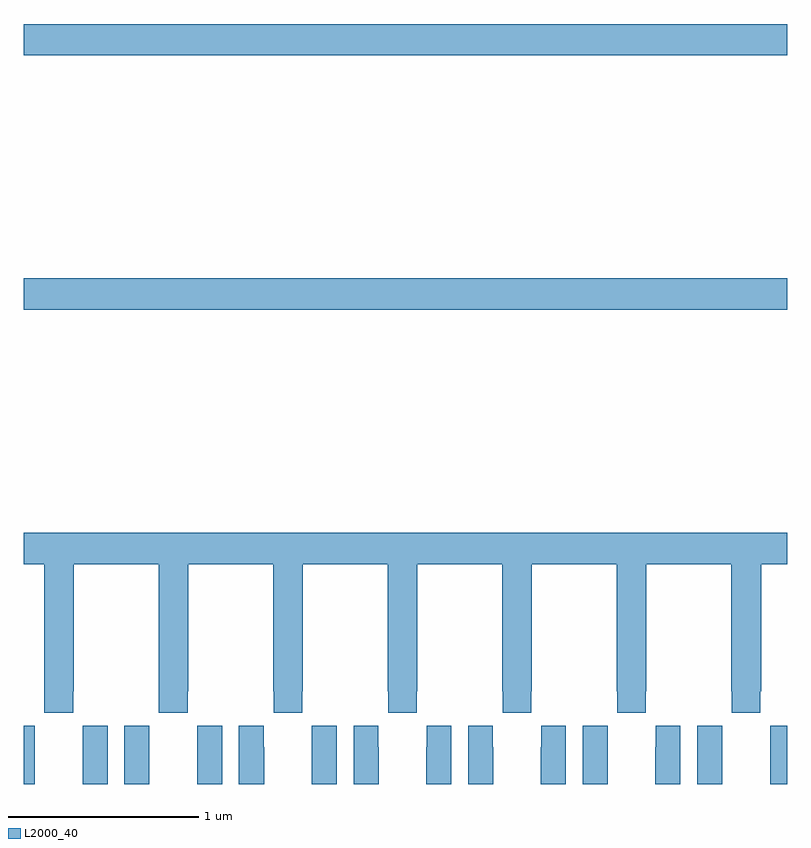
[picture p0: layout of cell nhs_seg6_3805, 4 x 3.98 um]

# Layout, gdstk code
import gdstk
lib = gdstk.Library(unit=1e-6, precision=1e-09)
def R(c, l, rs):  # rectangles x0, y0, x1, y1
    for r in rs: c.add(gdstk.rectangle(r[:2], r[2:], *l))
def P(c, l, *ps):  # polygons
    for p in ps: c.add(gdstk.Polygon(p, *l))
L2000_40 = (2000, 40)

nhs_seg6_3805 = lib.new_cell('nhs_seg6_3805')
R(nhs_seg6_3805, L2000_40, [(335,965.984,339,966.148), (335,967.316,339,967.48)])
P(nhs_seg6_3805, L2000_40, [(335,964.652),(335.107,964.652),(335.107,963.985),(335.109,963.985),(335.109,963.873),(335.259,963.873),(335.259,963.985),(335.262,963.985),(335.262,964.652),(335.707,964.652),(335.707,963.985),(335.709,963.985),(335.709,963.873),(335.859,963.873),(335.859,963.985),(335.862,963.985),(335.862,964.652),(336.307,964.652),(336.307,963.985),(336.309,963.985),(336.309,963.873),(336.459,963.873),(336.459,963.985),(336.462,963.985),(336.462,964.652),(336.907,964.652),(336.907,963.985),(336.909,963.985),(336.909,963.873),(337.059,963.873),(337.059,963.985),(337.062,963.985),(337.062,964.652),(337.507,964.652),(337.507,963.985),(337.509,963.985),(337.509,963.873),(337.659,963.873),(337.659,963.985),(337.662,963.985),(337.662,964.652),(338.107,964.652),(338.107,963.985),(338.109,963.985),(338.109,963.873),(338.259,963.873),(338.259,963.985),(338.262,963.985),(338.262,964.652),(338.707,964.652),(338.707,963.985),(338.709,963.985),(338.709,963.873),(338.859,963.873),(338.859,963.985),(338.862,963.985),(338.862,964.652),(339,964.652),(339,964.816),(335,964.816)],
  [(336.259,963.692),(336.258,963.692),(336.258,963.805),(336.128,963.805),(336.128,963.5),(336.259,963.5)],
  [(335.059,963.692),(335.058,963.692),(335.058,963.805),(335,963.805),(335,963.5),(335.059,963.5)],
  [(337.24,963.805),(337.11,963.805),(337.11,963.692),(337.109,963.692),(337.109,963.5),(337.24,963.5)],
  [(337.84,963.805),(337.71,963.805),(337.71,963.692),(337.709,963.692),(337.709,963.5),(337.84,963.5)],
  [(337.459,963.692),(337.458,963.692),(337.458,963.805),(337.328,963.805),(337.328,963.5),(337.459,963.5)],
  [(336.859,963.692),(336.858,963.692),(336.858,963.805),(336.728,963.805),(336.728,963.5),(336.859,963.5)],
  [(336.64,963.805),(336.51,963.805),(336.51,963.692),(336.509,963.692),(336.509,963.5),(336.64,963.5)],
  [(339,963.805),(338.91,963.805),(338.91,963.692),(338.909,963.692),(338.909,963.5),(339,963.5)],
  [(336.04,963.805),(335.91,963.805),(335.91,963.692),(335.909,963.692),(335.909,963.5),(336.04,963.5)],
  [(335.659,963.692),(335.658,963.692),(335.658,963.805),(335.528,963.805),(335.528,963.5),(335.659,963.5)],
  [(335.44,963.805),(335.31,963.805),(335.31,963.692),(335.309,963.692),(335.309,963.5),(335.44,963.5)],
  [(338.659,963.692),(338.658,963.692),(338.658,963.805),(338.528,963.805),(338.528,963.5),(338.659,963.5)],
  [(338.44,963.805),(338.31,963.805),(338.31,963.692),(338.309,963.692),(338.309,963.5),(338.44,963.5)],
  [(337.928,963.805),(337.928,963.5),(338.059,963.5),(338.059,963.692),(338.058,963.692),(338.058,963.805)])

lib.write_gds('nhs_seg6_3805.gds')
